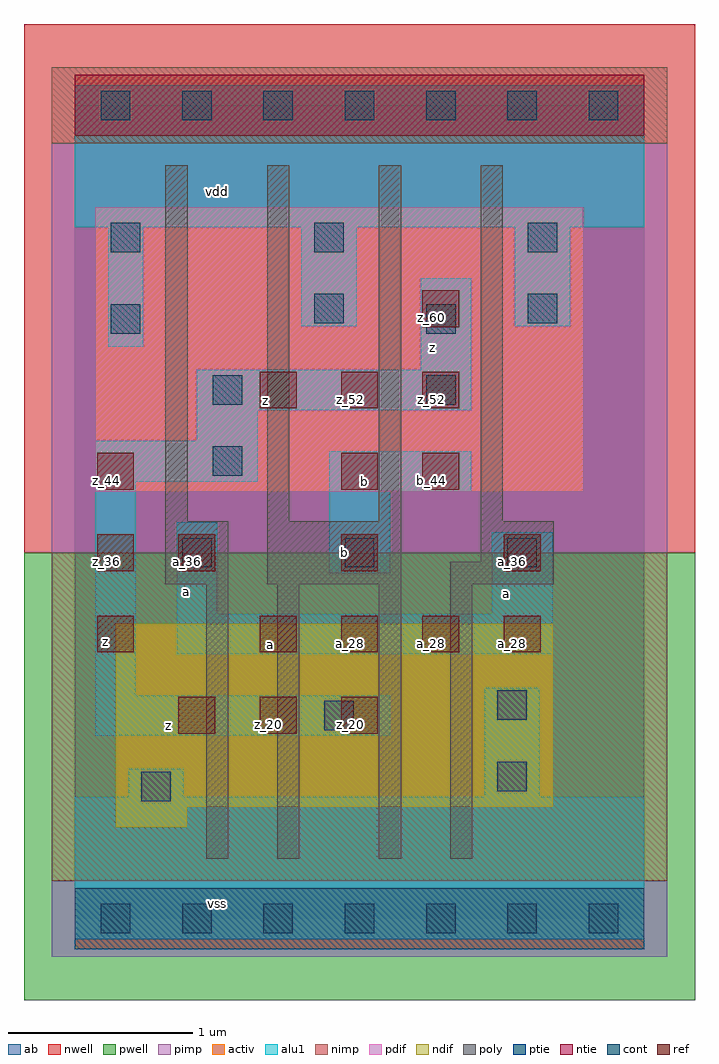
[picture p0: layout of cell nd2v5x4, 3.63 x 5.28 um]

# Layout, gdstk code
import gdstk
lib = gdstk.Library(unit=1e-6, precision=2.5e-09)
def R(c, l, rs):  # rectangles x0, y0, x1, y1
    for r in rs: c.add(gdstk.rectangle(r[:2], r[2:], *l))
def A(c, l, x, y, w, h, nx, ny, dx, dy):  # array of equal rectangles
    R(c, l, [(x+i*dx, y+j*dy, x+i*dx+w, y+j*dy+h) for i in range(nx) for j in range(ny)])
ndif = (3, 0)
pdif = (4, 0)
ntie = (5, 0)
ptie = (6, 0)
ref = (24, 0)
cont = (25, 0)
pwell = (41, 0)
nwell = (42, 0)
activ = (43, 0)
pimp = (44, 0)
nimp = (45, 0)
poly = (46, 0)
alu1 = (49, 0)
ab = (63, 0)

nd2v5x4 = lib.new_cell('nd2v5x4')
R(nd2v5x4, ndif, [(0.22,0.495,0.605,0.605), (0.22,0.605,2.585,1.595)])
R(nd2v5x4, pdif, [(0.11,2.31,2.75,3.85)])
R(nd2v5x4, ntie, [(0,4.235,3.08,4.565)])
R(nd2v5x4, ptie, [(0,-0.165,3.08,0.165)])
A(nd2v5x4, ref, 0.56, 1, 0.2, 0.2, 3, 1, 0.44, 0)
A(nd2v5x4, ref, 0.12, 1.44, 0.2, 0.2, 1, 3, 0, 0.44)
A(nd2v5x4, ref, 1, 1.44, 0.2, 0.2, 4, 1, 0.44, 0)
A(nd2v5x4, ref, 0.56, 1.88, 0.2, 0.2, 3, 1, 0.88, 0)
A(nd2v5x4, ref, 1, 2.76, 0.2, 0.2, 3, 1, 0.44, 0)
R(nd2v5x4, ref, [(1.44,2.32,1.64,2.52), (1.88,2.32,2.08,2.52), (1.88,3.2,2.08,3.4)])
A(nd2v5x4, cont, 0.14, -0.08, 0.16, 0.16, 7, 2, 0.44, 4.4)
A(nd2v5x4, cont, 0.58, 1.9, 0.16, 0.16, 3, 1, 0.88, 0)
R(nd2v5x4, cont, [(0.36,0.635,0.52,0.795), (2.285,0.69,2.445,0.85), (1.35,1.02,1.51,1.18), (2.285,1.075,2.445,1.235), (0.745,2.395,0.905,2.555), (0.745,2.78,0.905,2.94), (1.9,2.78,2.06,2.94), (0.195,3.165,0.355,3.325), (1.9,3.165,2.06,3.325), (1.295,3.22,1.455,3.38), (2.45,3.22,2.61,3.38), (0.195,3.605,0.355,3.765), (1.295,3.605,1.455,3.765), (2.45,3.605,2.61,3.765)])
R(nd2v5x4, pwell, [(-0.275,-0.44,3.355,1.98)])
R(nd2v5x4, nwell, [(-0.275,1.98,3.355,4.84)])
R(nd2v5x4, activ, [(0,-0.165,3.08,0.165), (0.22,0.495,0.605,0.605), (0.22,0.605,2.585,1.595), (0.11,2.31,2.75,3.85), (0,4.235,3.08,4.565)])
R(nd2v5x4, pimp, [(-0.125,-0.205,3.205,0.205), (-0.125,1.98,3.205,4.195)])
R(nd2v5x4, nimp, [(-0.125,0.205,3.205,1.98), (-0.125,4.195,3.205,4.605)])
R(nd2v5x4, poly, [(0.71,0.325,0.83,1.81), (1.095,0.325,1.215,1.81), (1.645,0.325,1.765,1.81), (2.03,0.325,2.15,1.81), (0.49,1.81,0.83,2.15), (1.04,1.81,1.765,2.15), (2.03,1.81,2.59,1.93), (2.195,1.93,2.59,2.15), (0.49,2.15,0.61,4.075), (1.04,2.15,1.16,4.075), (1.645,2.15,1.765,4.075), (2.195,2.15,2.315,4.075)])
R(nd2v5x4, alu1, [(0,-0.11,3.08,0.66), (0.29,0.66,0.59,0.81), (2.215,0.66,2.515,1.25), (0.11,0.99,1.705,1.21), (0.11,1.21,0.33,2.365), (0.55,1.43,2.585,1.65), (0.55,1.65,0.77,2.145), (2.255,1.65,2.585,2.09), (1.375,1.87,1.705,2.31), (1.375,2.31,2.145,2.53), (0.11,2.365,0.99,2.585), (0.66,2.585,0.99,2.75), (0.66,2.75,2.145,2.97), (1.87,2.97,2.145,3.465), (0.18,3.095,0.37,3.74), (1.225,3.205,1.525,3.74), (2.38,3.205,2.68,3.74), (0,3.74,3.08,4.51)])
R(nd2v5x4, ab, [(0,0,3.08,4.4)])
nd2v5x4.add(gdstk.Label('vss', (0.77,0.0825), layer=49, texttype=0))
nd2v5x4.add(gdstk.Label('z', (0.5075,1.045), layer=49, texttype=0))
nd2v5x4.add(gdstk.Label('a', (1.0575,1.485), layer=49, texttype=0))
nd2v5x4.add(gdstk.Label('a', (2.3375,1.76), layer=49, texttype=0))
nd2v5x4.add(gdstk.Label('b', (1.4575,1.98), layer=49, texttype=0))
nd2v5x4.add(gdstk.Label('a', (0.605,1.7725), layer=49, texttype=0))
nd2v5x4.add(gdstk.Label('b', (1.5675,2.365), layer=49, texttype=0))
nd2v5x4.add(gdstk.Label('z', (0.165,1.4975), layer=49, texttype=0))
nd2v5x4.add(gdstk.Label('z', (1.03,2.805), layer=49, texttype=0))
nd2v5x4.add(gdstk.Label('z', (1.9375,3.0925), layer=49, texttype=0))
nd2v5x4.add(gdstk.Label('vdd', (0.77,3.9325), layer=49, texttype=0))
nd2v5x4.add(gdstk.Label('z_20', (0.61,1.05), layer=24, texttype=0))
nd2v5x4.add(gdstk.Label('a_36', (0.61,1.93), layer=24, texttype=0))
nd2v5x4.add(gdstk.Label('z_20', (1.05,1.05), layer=24, texttype=0))
nd2v5x4.add(gdstk.Label('a_28', (1.05,1.49), layer=24, texttype=0))
nd2v5x4.add(gdstk.Label('z_52', (1.05,2.81), layer=24, texttype=0))
nd2v5x4.add(gdstk.Label('z_20', (1.49,1.05), layer=24, texttype=0))
nd2v5x4.add(gdstk.Label('a_28', (1.49,1.49), layer=24, texttype=0))
nd2v5x4.add(gdstk.Label('b_36', (1.49,1.93), layer=24, texttype=0))
nd2v5x4.add(gdstk.Label('b_44', (1.49,2.37), layer=24, texttype=0))
nd2v5x4.add(gdstk.Label('z_52', (1.49,2.81), layer=24, texttype=0))
nd2v5x4.add(gdstk.Label('a_28', (1.93,1.49), layer=24, texttype=0))
nd2v5x4.add(gdstk.Label('b_44', (1.93,2.37), layer=24, texttype=0))
nd2v5x4.add(gdstk.Label('z_52', (1.93,2.81), layer=24, texttype=0))
nd2v5x4.add(gdstk.Label('z_60', (1.93,3.25), layer=24, texttype=0))
nd2v5x4.add(gdstk.Label('z_28', (0.17,1.49), layer=24, texttype=0))
nd2v5x4.add(gdstk.Label('z_36', (0.17,1.93), layer=24, texttype=0))
nd2v5x4.add(gdstk.Label('z_44', (0.17,2.37), layer=24, texttype=0))
nd2v5x4.add(gdstk.Label('a_28', (2.37,1.49), layer=24, texttype=0))
nd2v5x4.add(gdstk.Label('a_36', (2.37,1.93), layer=24, texttype=0))

lib.write_gds('nd2v5x4.gds')
